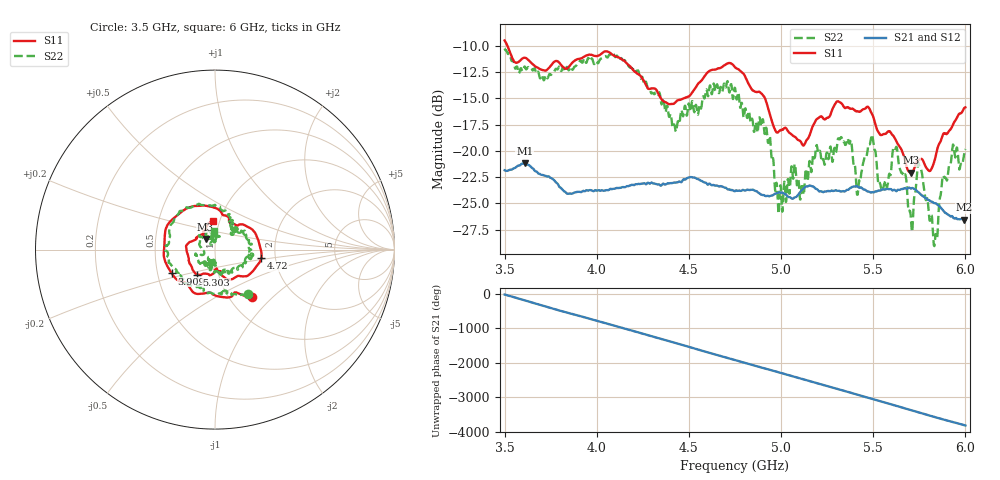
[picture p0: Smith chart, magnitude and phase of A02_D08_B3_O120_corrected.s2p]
! Created with skrf 1.9.0 (http://scikit-rf.org).
# Hz S RI R 50.0
!freq ReS11 ImS11 ReS21 ImS21 ReS12 ImS12 ReS22 ImS22
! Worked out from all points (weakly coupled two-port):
!   1601 points, 3.5 GHz to 6 GHz, reference 50 ohm
!   highest |S21| = -21.19 dB at 3.609 GHz (marker M1); lowest = -26.6 dB at 5.994 GHz (marker M2)
!   lowest |S11| = -22.1 dB at 5.706 GHz (marker M3), VSWR 1.17, Z = 44.7 + j5.29 ohm
!   |S11| at or under -10 dB: 3.515 GHz to end of sweep
!   |S22| runs from -29.1 to -10.2 dB; largest |S21 - S12| = 0.0012
!   S11 on the Smith chart (normalised r, x): 3.5 GHz: 1.28, -0.76; 3.909 GHz: 0.59, -0.17; 4.72 GHz: 1.69, -0.17; 5.303 GHz: 0.79, -0.23; 6 GHz: 0.93, +0.31
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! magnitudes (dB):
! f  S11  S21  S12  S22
! 3.5 GHz  -9.5  -21.9  -21.8  -10.2
! 3.609 GHz  -11.1  -21.2  -21.2  -12.0
! 3.909 GHz  -11.2  -23.9  -23.9  -11.4
! 3.917 GHz  -11.2  -23.9  -23.9  -11.5
! 4.334 GHz  -14.6  -23.2  -23.2  -14.6
! 4.422 GHz  -15.5  -23.0  -23.0  -17.5
! 4.72 GHz  -11.6  -23.7  -23.7  -14.4
! 4.75 GHz  -12.0  -23.8  -23.8  -14.0
! 4.911 GHz  -14.9  -24.3  -24.2  -18.4
! 4.995 GHz  -18.0  -24.0  -24.0  -23.3
! 5.167 GHz  -17.9  -23.4  -23.4  -21.6
! 5.303 GHz  -15.3  -23.8  -23.8  -19.5
! 5.419 GHz  -16.2  -23.5  -23.5  -23.6
! 5.491 GHz  -16.4  -24.0  -23.9  -18.6
! 5.584 GHz  -18.1  -23.7  -23.6  -22.4
! 5.622 GHz  -18.9  -23.8  -23.8  -19.7
! 5.706 GHz  -22.1  -23.6  -23.6  -27.0
! 5.752 GHz  -20.8  -24.0  -24.0  -21.5
! 5.838 GHz  -20.6  -25.0  -25.0  -27.9
! 5.925 GHz  -17.8  -26.2  -26.2  -20.6
! 5.994 GHz  -15.9  -26.6  -26.5  -20.3
! 6 GHz  -15.9  -26.5  -26.5  -19.8
